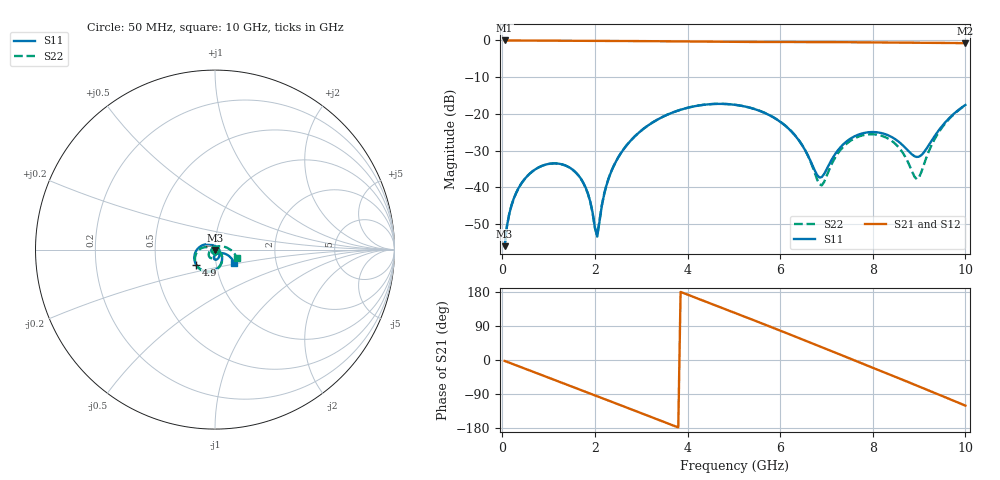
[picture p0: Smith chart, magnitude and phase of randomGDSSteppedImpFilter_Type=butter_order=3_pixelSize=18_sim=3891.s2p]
! freq	dB(S11)	phase(S11)	dB(S12)	phase(S12)
!  dB(S21)	phase(S21)	dB(S22)	phase(S22)
!S-par simulation data
#  GHz  S  DB  R 50
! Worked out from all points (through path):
!   200 points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, 50 MHz to 10 GHz, reference 50 ohm
!   highest |S21| = 0.00 dB at 50 MHz (marker M1); lowest = -0.8 dB at 10 GHz (marker M2)
!   group delay of S21, straight-line fit = 133 ps
!   lowest |S11| = -56.0 dB at 50 MHz (marker M3), VSWR 1.00, Z = 50 - j0.155 ohm
!   |S11| at or under -10 dB: start of sweep to end of sweep
!   |S22| runs from -56.0 to -17.3 dB; largest |S21 - S12| = 0
!   S11 on the Smith chart (normalised r, x): 50 MHz: 1.00, -0.00; 4.9 GHz: 0.80, -0.14; 10 GHz: 1.23, -0.19
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0.05  -56.04 -79.7  -0.00 -2.4  -0.00 -2.4  -56.04 -79.8
0.15  -47.27 -92.6  -0.01 -7.1  -0.01 -7.1  -47.28 -92.6
0.25  -43.01 -99.7  -0.02 -11.7  -0.02 -11.7  -43.01 -99.6
0.65  -35.68 -121.6  -0.04 -30.4  -0.04 -30.4  -35.69 -121.5
1.25  -33.64 -152.0  -0.07 -58.3  -0.07 -58.3  -33.66 -151.8
1.75  -38.78 178.9  -0.09 -81.6  -0.09 -81.6  -38.83 178.9
1.9  -43.92 162.9  -0.10 -88.6  -0.10 -88.6  -44.00 162.5
2.05  -53.45 74.8  -0.11 -95.6  -0.11 -95.6  -53.10 73.2
2.2  -41.88 2.8  -0.11 -102.7  -0.11 -102.7  -41.75 3.6
2.45  -33.08 -18.8  -0.13 -114.4  -0.13 -114.4  -33.04 -18.0
3.4  -21.23 -67.9  -0.23 -159.1  -0.23 -159.1  -21.21 -66.7
4.15  -17.93 -103.9  -0.33 165.5  -0.33 165.5  -17.92 -102.0
4.9  -17.38 -139.8  -0.40 130.2  -0.40 130.2  -17.36 -136.4
5.05  -17.58 -147.0  -0.40 123.1  -0.40 123.1  -17.56 -143.2
6.1  -23.12 157.8  -0.41 72.8  -0.41 72.8  -23.06 171.6
6.7  -34.08 97.4  -0.43 43.5  -0.43 43.5  -34.42 167.8
6.9  -37.21 29.0  -0.44 33.7  -0.44 33.7  -39.47 -138.4
7.5  -26.90 -59.5  -0.49 4.2  -0.49 4.2  -27.49 -99.2
8.35  -25.94 -96.4  -0.56 -37.6  -0.56 -37.6  -26.87 -140.6
8.95  -31.74 -67.1  -0.60 -67.4  -0.60 -67.4  -37.79 118.3
9.45  -24.06 -22.5  -0.65 -92.5  -0.65 -92.5  -24.53 13.7
10  -17.57 -35.4  -0.76 -120.4  -0.76 -120.4  -17.65 -20.8
